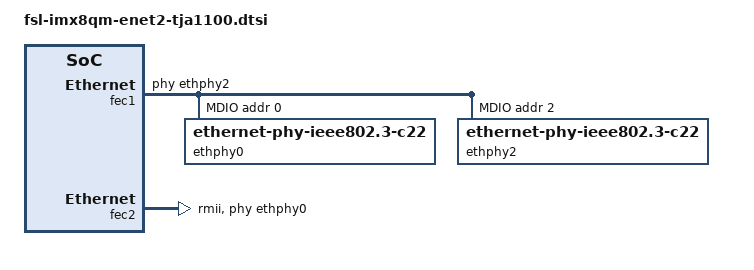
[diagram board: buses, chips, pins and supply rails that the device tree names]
/*
 * Copyright 2018 NXP
 *
 * This program is free software; you can redistribute it and/or
 * modify it under the terms of the GNU General Public License
 * as published by the Free Software Foundation; either version 2
 * of the License, or (at your option) any later version.
 *
 * This program is distributed in the hope that it will be useful,
 * but WITHOUT ANY WARRANTY; without even the implied warranty of
 * MERCHANTABILITY or FITNESS FOR A PARTICULAR PURPOSE.  See the
 * GNU General Public License for more details.
 */

/* fec1 cannot attach to ethphy0 since the PHY address
 * conflict with ethphy2. So eth0 should not work.
 * There still enable fec1 to share the MDIO bus for fec2 due
 * to board limitation.
 */
&fec1 {
	/* PHY address should rework to 2 */
	phy-handle = <&ethphy2>;

	mdio {
		#address-cells = <1>;
		#size-cells = <0>;

		ethphy0: ethernet-phy@0 {
			compatible = "ethernet-phy-ieee802.3-c22";
			reg = <0>;
			tja110x,refclk_in;
			/delete-property/ at803x,eee-disabled;
			/delete-property/ at803x,vddio-1p8v;
		};

		ethphy2: ethernet-phy@2 {
			compatible = "ethernet-phy-ieee802.3-c22";
			reg = <2>;
			at803x,eee-disabled;
			at803x,vddio-1p8v;
		};
	};
};

&fec2 {
	pinctrl-0 = <&pinctrl_fec2_rmii>;
	clocks = <&clk IMX8QM_ENET1_IPG_CLK>,
		 <&clk IMX8QM_ENET1_AHB_CLK>,
		 <&clk IMX8QM_ENET1_REF_50MHZ_CLK>,
		 <&clk IMX8QM_ENET1_PTP_CLK>,
		 <&clk IMX8QM_ENET1_TX_CLK>;
	phy-mode = "rmii";
	phy-handle = <&ethphy0>;
	/delete-property/ phy-supply;
};

&iomuxc {
	imx8qm-mek {
		pinctrl_fec2_rmii: fec2rmiigrp {
			fsl,pins = <
				SC_P_ENET1_RGMII_TXC_CONN_ENET1_RCLK50M_OUT	0x06000020
				SC_P_ENET1_RGMII_RXD0_CONN_ENET1_RGMII_RXD0	0x06000020
				SC_P_ENET1_RGMII_RXD1_CONN_ENET1_RGMII_RXD1	0x06000020
				SC_P_ENET1_RGMII_RXD2_CONN_ENET1_RMII_RX_ER	0x06000020
				SC_P_ENET1_RGMII_RX_CTL_CONN_ENET1_RGMII_RX_CTL	0x06000020
				SC_P_ENET1_RGMII_TXD0_CONN_ENET1_RGMII_TXD0	0x06000020
				SC_P_ENET1_RGMII_TXD1_CONN_ENET1_RGMII_TXD1	0x06000020
				SC_P_ENET1_RGMII_TX_CTL_CONN_ENET1_RGMII_TX_CTL	0x06000020
			>;
		};
	};
};
